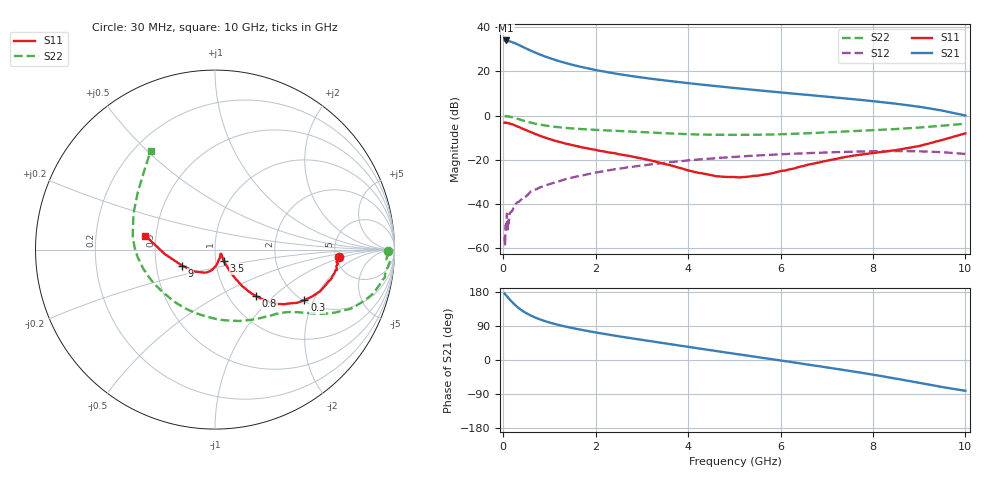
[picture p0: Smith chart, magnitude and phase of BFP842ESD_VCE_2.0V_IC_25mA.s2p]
! Infineon Technologies  Discrete & RF Semiconductors
! BFP842ESD
! VCE =  2.0 V,  IC =  25 mA
! Common Emitter S-Parameters:  May 2012
# GHz  S  MA  R  50
!  f  S11  S21  S12  S22
! GHz  MAG  ANG  MAG  ANG  MAG  ANG  MAG  ANG
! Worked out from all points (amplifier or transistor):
!   99 points, 30 MHz to 10 GHz, reference 50 ohm
!   highest |S21| = 34.0 dB at 60 MHz (marker M1)
!   |S21| within 3 dB of that: start of sweep to 431.7 MHz
!   unconditionally stable (mu >= 1): 1.952 GHz to end of sweep
!   at 350 MHz: K = 0.53, MSG = 35.4 dB, |S12| = -38.9 dB
!   at 3.5 GHz: K = 1.08, MAG = 17.0 dB, |S12| = -21.4 dB
!   at 10 GHz: K = 1.82, MAG = 3.5 dB, |S12| = -17.4 dB
!   S11 on the Smith chart (normalised r, x): 30 MHz: 5.40, -0.80; 300 MHz: 2.03, -1.70; 800 MHz: 1.33, -0.79; 3.5 GHz: 1.09, -0.14; 9 GHz: 0.68, -0.13; 10 GHz: 0.44, +0.08
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0.03  0.6934 -3.2  50.14 175.5  0.0018 85.0  0.962 -0.6
0.05  0.6796 -5.7  49.66 172.2  0.0033 -36.4  0.9566 -3.3
0.06  0.689 -6.6  50.38 170.9  0.0034 107.9  0.9782 -3.7
0.11  0.6714 -12.7  49.21 163.7  0.0046 63.9  0.9571 -8.2
0.2  0.6313 -21.4  45.81 152.1  0.0071 84.5  0.9148 -15.5
0.25  0.6023 -25.6  43.86 146.0  0.0095 77.9  0.8827 -18.6
0.3  0.5723 -29.5  41.4 140.5  0.0107 74.4  0.8506 -21.3
0.4  0.5146 -35.6  36.98 131.2  0.0128 74.2  0.7889 -25.5
0.5  0.4646 -40.7  33.04 123.5  0.0148 72.4  0.7344 -28.9
0.6  0.4211 -43.9  29.5 117.1  0.0193 69.8  0.6914 -31.2
0.8  0.3474 -48.5  24.05 106.9  0.0238 68.7  0.6233 -34.5
1  0.2948 -51.4  20.16 99.0  0.028 65.4  0.5769 -37.2
1.2  0.2555 -53.3  17.23 92.5  0.0324 63.9  0.5455 -39.6
1.7  0.1908 -54.8  12.58 79.5  0.0435 59.0  0.494 -46.4
2.4  0.1411 -55.5  9.051 64.5  0.0605 51.5  0.4535 -57.9
3.4  0.0847 -53.2  6.438 45.8  0.083 40.0  0.4026 -78.8
3.5  0.0801 -52.3  6.25 43.9  0.085 38.5  0.3986 -81.4
5.1  0.0396 -36.7  4.124 14.8  0.1178 16.5  0.3662 -122.8
6.7  0.0809 -82.6  2.869 -14.0  0.1426 -7.0  0.4025 -159.9
8.5  0.1652 -132.3  1.857 -49.2  0.157 -38.4  0.496 156.4
9  0.2042 -154.0  1.585 -60.2  0.1551 -48.9  0.5357 143.4
10  0.3957 168.7  1.005 -81.3  0.1351 -70.7  0.6545 123.3
